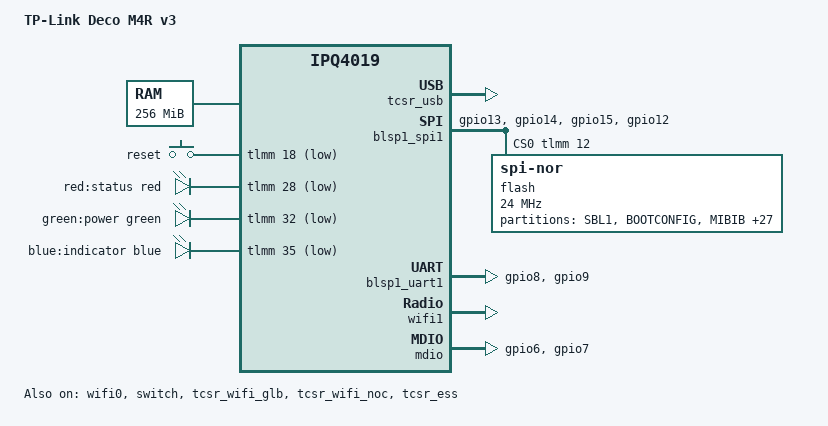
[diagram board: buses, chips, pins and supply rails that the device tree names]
// SPDX-License-Identifier: GPL-2.0-or-later OR MIT

/dts-v1/;

#include "qcom-ipq4019.dtsi"
#include <dt-bindings/gpio/gpio.h>
#include <dt-bindings/input/input.h>
#include <dt-bindings/leds/common.h>
#include <dt-bindings/soc/qcom,tcsr.h>

/ {
	model = "TP-Link Deco M4R v3";
	compatible = "tplink,deco-m4r-v3", "qcom,ipq4019";

	aliases {
		led-boot = &led_power_green;
		led-failsafe = &led_power_red;
		led-running = &led_power_green;
		led-upgrade = &led_power_blue;
		serial0 = &blsp1_uart1;

		/* DSA world: point label-mac-device at a user netdev */
		label-mac-device = &port_lan2;
	};

	chosen {
		stdout-path = "serial0:115200n8";
		bootargs-append = " swiotlb=1 coherent_pool=2M";
	};

	memory {
		device_type = "memory";
		reg = <0x80000000 0x10000000>; /* 256MB DDR3L */
	};

	keys {
		compatible = "gpio-keys";
		pinctrl-0 = <&button_pins>;
		pinctrl-names = "default";

		reset {
			label = "reset";
			gpios = <&tlmm 18 GPIO_ACTIVE_LOW>;
			linux,code = <KEY_RESTART>;
			debounce-interval = <60>;
		};
	};

	leds {
		compatible = "gpio-leds";
		pinctrl-0 = <&led_pins>;
		pinctrl-names = "default";

		led_power_red: power_red {
			label = "red:status";
			color = <LED_COLOR_ID_RED>;
			function = LED_FUNCTION_STATUS;
			gpios = <&tlmm 28 GPIO_ACTIVE_LOW>;
		};

		led_power_green: power_green {
			label = "green:power";
			color = <LED_COLOR_ID_GREEN>;
			function = LED_FUNCTION_POWER;
			gpios = <&tlmm 32 GPIO_ACTIVE_LOW>;
		};

		led_power_blue: power_blue {
			label = "blue:indicator";
			color = <LED_COLOR_ID_BLUE>;
			function = LED_FUNCTION_INDICATOR;
			gpios = <&tlmm 35 GPIO_ACTIVE_LOW>;
		};
	};

	soc {
		rng@22000 { status = "okay"; };
		crypto@8e3a000 { status = "okay"; };
		watchdog@b017000 { status = "okay"; };

		/* TCSR configuration */
		tcsr_usb: tcsr@194b000 {
			compatible = "qcom,tcsr";
			reg = <0x194b000 0x100>;
			qcom,usb-hsphy-mode-select = <TCSR_USB_HSPHY_HOST_MODE>;
			status = "okay";
		};

		tcsr_wifi_glb: tcsr@1949000 {
			compatible = "qcom,tcsr";
			reg = <0x1949000 0x100>;
			qcom,wifi_glb_cfg = <TCSR_WIFI_GLB_CFG>;
			status = "okay";
		};

		tcsr_wifi_noc: tcsr@1957000 {
			compatible = "qcom,tcsr";
			reg = <0x1957000 0x100>;
			qcom,wifi_noc_memtype_m0_m2 = <TCSR_WIFI_NOC_MEMTYPE_M0_M2>;
			status = "okay";
		};

		/* Select PSGMII to external QCA8072 */
		tcsr_ess: tcsr@1953000 {
			compatible = "qcom,tcsr";
			reg = <0x1953000 0x1000>;
			qcom,ess-interface-select = <TCSR_ESS_PSGMII>;
			status = "okay";
		};
	};
};

/* TLMM pinmux */
&tlmm {
	button_pins: button_pinmux {
		mux { pins = "gpio18"; function = "gpio"; bias-pull-up; };
	};

	led_pins: led_pinmux {
		mux { pins = "gpio28", "gpio32", "gpio35"; function = "gpio"; bias-pull-down; };
	};

	serial_1_pins: serial1_pinmux {
		mux { pins = "gpio8", "gpio9"; function = "blsp_uart1"; bias-disable; };
	};

	spi_0_pins: spi_0_pinmux {
		pin { function = "blsp_spi0"; pins = "gpio13", "gpio14", "gpio15"; drive-strength = <12>; bias-disable; };
		pin_cs { function = "gpio"; pins = "gpio12"; drive-strength = <2>; bias-disable; output-high; };
	};

	wifi_0_pins: wifi1_pinmux {
		mux_1 { pins = "gpio37"; function = "wcss0_dbg16"; output-high; bias-pull-up; drive-strength = <6>; };
		mux_2 { pins = "gpio43"; function = "wifi_wci1"; bias-pull-up; drive-strength = <6>; };
		mux_3 { pins = "gpio42"; function = "gpio"; output-high; bias-pull-up; drive-strength = <6>; };
	};

	mdio_pins: mdio_pinmux {
		mux { pins = "gpio6", "gpio7"; function = "mdio"; bias-pull-up; };
	};
};

/* SPI NOR with TP-Link dual-slot layout preserved */
&blsp1_spi1 {
	status = "okay";
	cs-gpios = <&tlmm 12 GPIO_ACTIVE_HIGH>;
	pinctrl-0 = <&spi_0_pins>;
	pinctrl-names = "default";

	flash@0 {
		compatible = "jedec,spi-nor";
		reg = <0>;
		spi-max-frequency = <24000000>;

		partitions {
			compatible = "fixed-partitions";
			#address-cells = <1>;
			#size-cells = <1>;

			partition@0 { label = "SBL1"; reg = <0x000000 0x030000>; read-only; };
			partition@30000 { label = "BOOTCONFIG"; reg = <0x030000 0x010000>; read-only; };
			partition@40000 { label = "MIBIB"; reg = <0x040000 0x010000>; read-only; };
			partition@50000 { label = "BOOTCONFIG1"; reg = <0x050000 0x010000>; read-only; };
			partition@60000 { label = "QSEE"; reg = <0x060000 0x060000>; read-only; };
			partition@c0000 { label = "CDT"; reg = <0x0c0000 0x010000>; read-only; };
			partition@d0000 { label = "DDRPARAMS"; reg = <0x0d0000 0x010000>; read-only; };
			partition@e0000 { label = "uboot-env"; reg = <0x0e0000 0x010000>; };
			partition@f0000 { label = "u-boot"; reg = <0x0f0000 0x080000>; read-only; };

			partition@170000 {
				label = "art";
				reg = <0x170000 0x010000>;
				read-only;

				nvmem-layout {
					compatible = "fixed-layout";
					#address-cells = <1>;
					#size-cells = <1>;

					macaddr_art_0: macaddr@0 {
						compatible = "mac-base";
						reg = <0x0 0x6>;
						#nvmem-cell-cells = <1>;
					};

					macaddr_art_6: macaddr@6 { reg = <0x6 0x6>; };

					precal_art_1000: precal@1000 { reg = <0x1000 0x2f20>; };
					precal_art_5000: precal@5000 { reg = <0x5000 0x2f20>; };
				};
			};

			/* TP-Link config partitions */
			partition@180000 { label = "default-mac"; reg = <0x180000 0x001000>; read-only; };
			partition@181000 { label = "device-id"; reg = <0x181000 0x001000>; read-only; };
			partition@182000 { label = "product-info"; reg = <0x182000 0x006000>; read-only; };
			partition@190000 { label = "support-list"; reg = <0x190000 0x010000>; read-only; };
			partition@200000 { label = "user-config"; reg = <0x200000 0x010000>; };
			partition@210000 { label = "device-config"; reg = <0x210000 0x010000>; };
			partition@220000 { label = "group-info"; reg = <0x220000 0x010000>; };
			partition@230000 { label = "partition-table@0"; reg = <0x230000 0x002000>; read-only; };

			/* Slot 0 - stock firmware preserved for recovery */
			partition@240000 { label = "os-image@0"; reg = <0x240000 0x320000>; read-only; };
			partition@560000 { label = "file-system@0"; reg = <0x560000 0x0a00000>; read-only; };
			partition@f60000 { label = "soft-version@0"; reg = <0x0f60000 0x010000>; read-only; };
			partition@f70000 { label = "profile@0"; reg = <0x0f70000 0x010000>; read-only; };
			partition@f80000 { label = "default-config@0"; reg = <0x0f80000 0x010000>; read-only; };

			partition@f90000 { label = "partition-table@1"; reg = <0x0f90000 0x002000>; read-only; };
			partition@fa0000 { label = "fs-uboot@1"; reg = <0x0fa0000 0x080000>; read-only; };

			/* Slot 1 - combined OpenWrt firmware (kernel+rootfs split by mtdsplit) */
			partition@1020000 {
				label = "firmware";
				reg = <0x1020000 0x0fa0000>;
				compatible = "tplink,firmware";
			};

			partition@1fc0000 { label = "soft-version@1"; reg = <0x1fc0000 0x010000>; };
			partition@1fd0000 { label = "profile@1"; reg = <0x1fd0000 0x010000>; };
			partition@1fe0000 { label = "default-config@1"; reg = <0x1fe0000 0x010000>; };
			partition@1ff0000 { label = "url-sig"; reg = <0x1ff0000 0x010000>; };
		};
	};
};

/* UART */
&blsp1_uart1 {
	pinctrl-0 = <&serial_1_pins>;
	pinctrl-names = "default";
	status = "okay";
};

/* WiFi radios with ART pre-calibration and MAC derivations */
&wifi0 {
	status = "okay";
	nvmem-cell-names = "pre-calibration", "mac-address";
	nvmem-cells = <&precal_art_1000>, <&macaddr_art_0 2>;
	qcom,ath10k-calibration-variant = "tplink-deco-m4r-v3";

	pinctrl-0 = <&wifi_0_pins>;
	pinctrl-names = "default";
	btcoex_support = <1>;
	wlan_prio_gpio = <42>;
};

&wifi1 {
	status = "okay";
	nvmem-cell-names = "pre-calibration", "mac-address";
	nvmem-cells = <&precal_art_5000>, <&macaddr_art_0 3>;
	qcom,ath10k-calibration-variant = "tplink-deco-m4r-v3";
	btcoex_support = <0>;
};

/* USB disabled (not present on this device) */
&usb3_hs_phy { status = "disabled"; };
&usb3_ss_phy { status = "disabled"; };
&usb3 { status = "disabled"; };
&usb2_hs_phy { status = "disabled"; };
&usb2 { status = "disabled"; };

/* MDIO bus - enable but don't redefine PHYs (they exist in dtsi) */
&mdio {
	status = "okay";
	pinctrl-0 = <&mdio_pins>;
	pinctrl-names = "default";

	/* 
	 * Do NOT define PHY nodes here - they already exist in the 
	 * ethernet-phy-package@0 in qcom-ipq4019.dtsi
	 * We reference them directly in the switch port configuration
	 */
};

/* ESS switch with modern DSA configuration */
&switch {
	status = "okay";

	ports {
		#address-cells = <1>;
		#size-cells = <0>;

		/* CPU port with PSGMII uplink to SoC */
		port@0 {
			reg = <0>;
			label = "cpu";
			phy-mode = "psgmii";
			fixed-link {
				speed = <1000>;
				full-duplex;
			};
		};

		/* User ports connected to QCA8072 external PHYs */
		/* Reference the existing PHY nodes from ethernet-phy-package@0 */
		port_lan1: port@3 {
			reg = <3>;
			label = "lan1";
			phy-handle = <&ethphy3>;
		};

		port_lan2: port@4 {
			reg = <4>;
			label = "lan2";
			phy-handle = <&ethphy4>;
		};
	};
};

